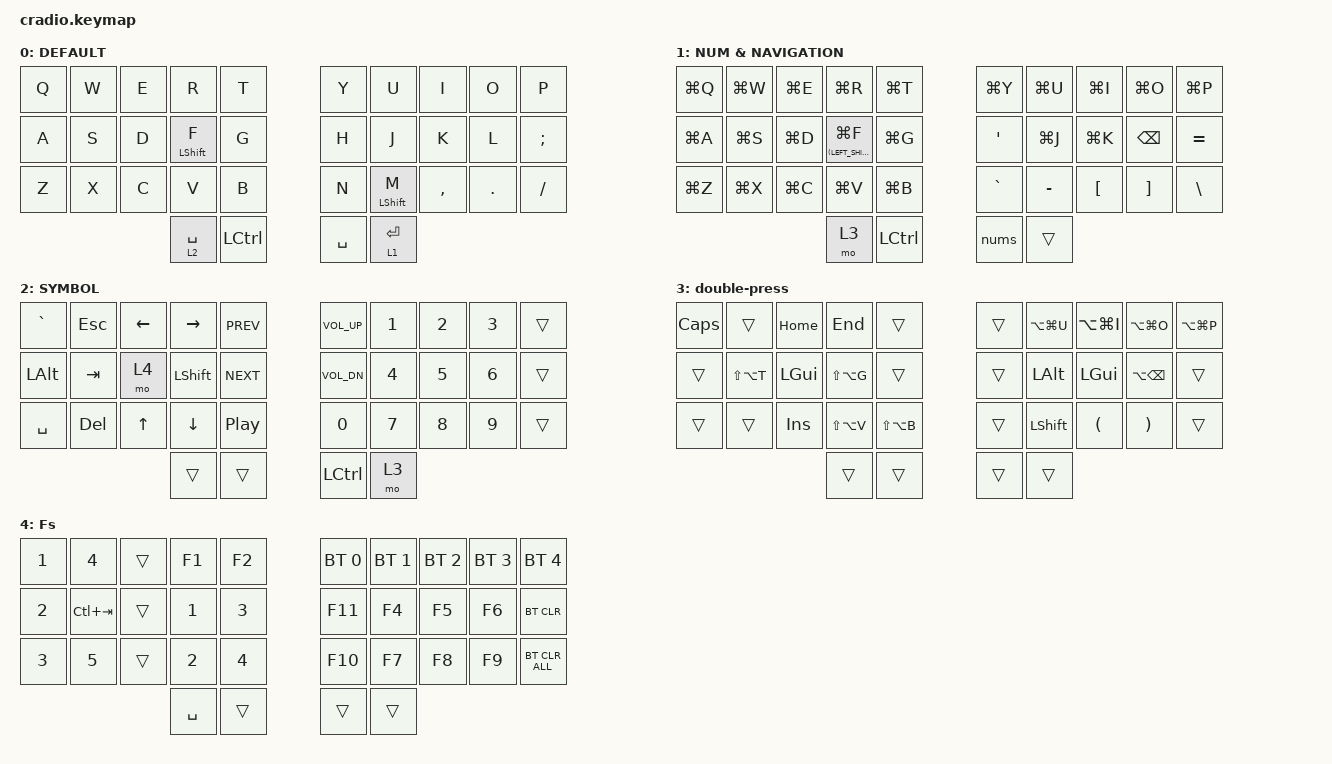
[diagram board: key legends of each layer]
// Copyright (c) 2022 The ZMK Contributors
// SPDX-License-Identifier: MIT

#define ZMK_POINTING_DEFAULT_MOVE_VAL 2500  // 600
#define ZMK_POINTING_DEFAULT_SCRL_VAL 20    // 10

#include <behaviors.dtsi>
#include <dt-bindings/zmk/bt.h>
#include <dt-bindings/zmk/keys.h>

#define MAC 0
#define WIN 1
#define RIG 2
#define LEF 3
#define TRI 4
#define MOUSE 5

// https: //zmk.dev/docs/development/hardware-integration/soft-off-setup?advanced-methods=wakeup&kscan-type=dkscan

/ {
    keys {
        compatible = "gpio-keys";

        soft_off_gpio_key: soft_off_gpio_key { gpios = <&gpio1 6 (GPIO_ACTIVE_LOW | GPIO_PULL_UP)>; };
    };

    wakeup_scan: wakeup_scan {
        compatible = "zmk,kscan-gpio-direct";
        input-keys = <&soft_off_gpio_key>;
        wakeup-source;
    };

    side_band_behavior_triggers: side_band_behavior_triggers {
        compatible = "zmk,kscan-sideband-behaviors";
        kscan = <&wakeup_scan>;
        auto-enable;
        wakeup-source;
    };

    soft_off_wakers {
        compatible = "zmk,soft-off-wakeup-sources";
        wakeup-sources = <&wakeup_scan>;
    };
};

/ {
    chosen { zmk,charmap = &charmap_us; };

    behaviors {
        ht: hold_tap {
            label = "hold_tap";
            compatible = "zmk,behavior-hold-tap";
            #binding-cells = <2>;
            flavor = "balanced";
            tapping-term-ms = <150>;
            quick-tap-ms = <150>;
            global-quick-tap;
            bindings = <&kp>, <&kp>;
        };

        hml: home_row_mod_left {
            compatible = "zmk,behavior-hold-tap";
            label = "home_row_mod_left";
            #binding-cells = <2>;
            flavor = "balanced";
            tapping-term-ms = <150>;
            quick-tap-ms = <100>;
            global-quick-tap;
            bindings = <&kp>, <&kp>;

            hold-trigger-key-positions = <5 6 7 8 9 15 16 17 18 19 25 26 27 28 29 32 33>;
            require-prior-idle-ms = <125>;
            hold-trigger-on-release;
        };

        hmr: home_row_mod_right {
            compatible = "zmk,behavior-hold-tap";
            label = "home_row_mod_right";
            #binding-cells = <2>;
            flavor = "balanced";
            tapping-term-ms = <150>;
            quick-tap-ms = <100>;
            global-quick-tap;
            bindings = <&kp>, <&kp>;

            hold-trigger-key-positions = <0 1 2 3 4 10 11 12 13 14 20 21 22 23 24 30 31>;
            hold-trigger-on-release;
            require-prior-idle-ms = <125>;
        };

        mmv {
            acceleration-exponent = <1>;      // 1
            time-to-max-speed-ms = <300>;    // 40
            delay-ms = <0>;                   // 0
        };

        msc {
            acceleration-exponent = <0>;      // 0
            time-to-max-speed-ms = <40>;      // 500
            delay-ms = <0>;                   // 10
        };
    };

    conditional_layers { compatible = "zmk,conditional-layers"; };

    macros {
        nums: nums {
            compatible = "zmk,behavior-macro";
            #binding-cells = <0>;
            bindings = <&kp NUMBER_6 &kp N5 &kp NUMBER_6 &kp N5 &kp ENTER>;
            label = "NUMS";
        };
    };

    keymap {
        compatible = "zmk,keymap";

        default_layer {
            display-name = "DEFAULT";
            bindings = <
&kp Q  &kp W  &kp E  &kp R              &kp T        &kp Y      &kp U              &kp I      &kp O    &kp P
&kp A  &kp S  &kp D  &hml LEFT_SHIFT F  &kp G        &kp H      &kp J              &kp K      &kp L    &kp SEMICOLON
&kp Z  &kp X  &kp C  &kp V              &kp B        &kp N      &hmr LEFT_SHIFT M  &kp COMMA  &kp DOT  &kp SLASH
                     &lt 2 SPACE        &kp LCTRL    &kp SPACE  &lt 1 ENTER
            >;
        };

        right_layer {
            display-name = "NUM & NAVIGATION";
            bindings = <
&kp LG(Q)  &kp LG(W)  &kp LG(E)  &kp LG(R)               &kp LG(T)    &kp LG(Y)  &kp LG(U)  &kp LG(I)         &kp LG(O)          &kp LG(P)
&kp LG(A)  &kp LG(S)  &kp LG(D)  &ht (LEFT_SHIFT) LG(F)  &kp LG(G)    &kp SQT    &kp LG(J)  &kp LG(K)         &kp BACKSPACE      &kp EQUAL
&kp LG(Z)  &kp LG(X)  &kp LG(C)  &kp LG(V)               &kp LG(B)    &kp GRAVE  &kp MINUS  &kp LEFT_BRACKET  &kp RIGHT_BRACKET  &kp BACKSLASH
                                 &mo 3                   &kp LCTRL    &nums      &trans
            >;
        };

        left_layer {
            display-name = "SYMBOL";
            bindings = <
&kp GRAVE     &kp ESC     &kp LEFT_ARROW  &kp RIGHT_ARROW  &kp C_PREV          &kp C_VOLUME_UP   &kp NUMBER_1  &kp NUMBER_2  &kp NUMBER_3  &trans
&kp LEFT_ALT  &kp TAB     &mo 4           &kp LEFT_SHIFT   &kp C_NEXT          &kp C_VOL_DN      &kp NUMBER_4  &kp N5        &kp NUMBER_6  &trans
&kp SPACE     &kp DELETE  &kp UP_ARROW    &kp DOWN_ARROW   &kp C_PLAY_PAUSE    &kp N0            &kp N7        &kp N8        &kp N9        &trans
                                          &trans           &trans              &kp LEFT_CONTROL  &mo 3
            >;
        };

        double-press {
            bindings = <
&kp CAPSLOCK  &trans         &kp HOME      &kp END        &trans           &trans  &kp LA(LG(U))   &kp LA(LG(I))         &kp LA(LG(O))          &kp LA(LG(P))
&trans        &kp LS(LA(T))  &kp LEFT_GUI  &kp LS(LA(G))  &trans           &trans  &kp LEFT_ALT    &kp LEFT_GUI          &kp LA(BACKSPACE)      &trans
&trans        &trans         &kp INS       &kp LS(LA(V))  &kp LS(LA(B))    &trans  &kp LEFT_SHIFT  &kp LEFT_PARENTHESIS  &kp RIGHT_PARENTHESIS  &trans
                                           &trans         &trans           &trans  &trans
            >;
        };

        Fs {
            bindings = <
&kp NUMBER_1  &kp NUMBER_4  &trans  &kp F1        &kp F2          &bt BT_SEL 0  &bt BT_SEL 1  &bt BT_SEL 2  &bt BT_SEL 3  &bt BT_SEL 4
&kp NUMBER_2  &kp LC(TAB)   &trans  &kp NUMBER_1  &kp NUMBER_3    &kp F11       &kp F4        &kp F5        &kp F6        &bt BT_CLR
&kp NUMBER_3  &kp N5        &trans  &kp NUMBER_2  &kp NUMBER_4    &kp F10       &kp F7        &kp F8        &kp F9        &bt BT_CLR_ALL
                                    &kp SPACE     &trans          &trans        &trans
            >;
        };
    };
};
